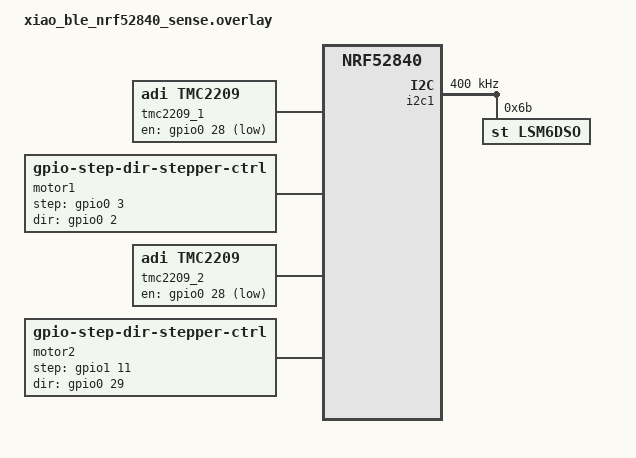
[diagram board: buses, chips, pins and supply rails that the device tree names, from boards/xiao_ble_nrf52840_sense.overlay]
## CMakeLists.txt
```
# Copyright (c) 2026 Toni Lekic
# SPDX-License-Identifier: Apache-2.0

cmake_minimum_required(VERSION 3.20.0)
find_package(Zephyr REQUIRED HINTS $ENV{ZEPHYR_BASE})

project(2dof-tilt-platform)

target_include_directories(app PRIVATE
    include
    src/kinematics
    src/motion
    src/imu
    src/calib
    src/homing
    src/pose_ctrl
)

target_sources(app PRIVATE
    src/main.c
    src/zbus_channels.c
    src/kinematics/kinematics.c
    src/motion/motion.c
    src/imu/imu.c
    src/calib/calib.c
    src/homing/homing.c
    src/pose_ctrl/pose_ctrl.c
    src/shell_cmds/shell_cmds.c
)
```

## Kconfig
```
# Copyright (c) 2026 Toni Lekic
# SPDX-License-Identifier: Apache-2.0

mainmenu "2DOF Tilt Platform"

# All project-introduced Kconfigs use the TT_<COMPONENT>_ prefix to be
# greppable and to make clear which component owns each setting.

# --------------------------------------------------------------------
# Motion (src/motion/) — stepper rates and S-curve ramp
# --------------------------------------------------------------------

config TT_MOTION_STEP_INTERVAL_NS
	int "Initial step interval (ns)"
	default 1000000
	help
	  Step interval set at motor init. Almost always overridden by the
	  S-curve ramp inside move_pair_by; only matters for raw driver calls
	  (e.g. STEPPER_CTRL_RUN_MODE_VELOCITY via 'platform run').

config TT_MOTION_MAX_STEP_RATE
	int "S-curve cruise step rate (microsteps/sec)"
	default 8000
	help
	  Peak microstep rate during the S-curve cruise phase. With 1/64
	  microstepping (12800 microsteps/rev), 8000 ≈ 37.5 RPM. Raise for
	  faster moves; lower if motors skip steps under load.

config TT_MOTION_MIN_STEP_RATE
	int "S-curve start/end step rate (microsteps/sec)"
	default 500
	help
	  Initial/final velocity of the ramp. Should sit below the motor's
	  pull-in rate so the rotor accelerates from rest cleanly.

config TT_MOTION_RAMP_STEPS
	int "S-curve accel/decel distance (microsteps)"
	default 400
	help
	  Number of microsteps over which velocity ramps MIN→MAX (and back).
	  Larger = smoother but slower; smaller = quicker but more likely to
	  skip steps. Default ~11.25° at 1/64 microstepping.

config TT_MOTION_RAMP_SEGMENTS
	int "S-curve velocity segment count per move"
	default 32
	help
	  The S-curve is approximated as N constant-velocity segments per
	  move. More = smoother profile, more inter-segment overhead.

# --------------------------------------------------------------------
# Homing (src/homing/) — also borrowed by src/pose_ctrl/ since both
# components run the same probe-Jacobian + Newton refinement loop.
# --------------------------------------------------------------------

config TT_HOMING_PROBE_STEPS
	int "Newton-refinement Jacobian probe size (microsteps)"
	default 200
	help
	  Number of microsteps each axis is jogged to identify the
	  (motor → IMU axis) Jacobian, used by both soft homing and the
	  pose-ctrl Newton fallback. Should produce a few degrees of
	  mechanical motion — large enough to lift the IMU response above
	  noise, small enough to stay within the small-angle linearization.
	  The PCB straps the TMC2209 to 1/64 microstepping (12800
	  microsteps/rev = 0.0281°/microstep), so the default of 200 is
	  ~5.6° per probe.

config TT_HOMING_MAX_ITERATIONS
	int "Newton-refinement max iterations"
	default 3
	help
	  Maximum Newton-step refinement iterations after the Jacobian probe,
	  for both homing's Stage 2 and the pose-ctrl Newton fallback. Each
	  iteration reads the IMU and applies one move per axis.

config TT_HOMING_CONVERGE_THRESH_MILLI_MS2
	int "Lateral residual convergence threshold (milli-m/s²)"
	default 400
	help
	  Lateral-accel magnitude below which the Newton iteration (in homing
	  and pose control) is considered converged, AND the threshold below
	  which the pose-ctrl IK fast path skips Newton refinement.

	  Specified in milli-m/s² because Kconfig has no float type. 400 =
	  0.4 m/s², which corresponds to ≈2.3° tilt residual at 1 g — well
	  inside one microstep at 1/64 (0.028°) plus IMU noise. Tighter
	  values cause Newton to run almost every set, which is unnecessary
	  given step resolution and IMU noise.

source "Kconfig.zephyr"
```

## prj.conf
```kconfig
# Copyright (c) 2026 Toni Lekic
# SPDX-License-Identifier: Apache-2.0

# --------------------------------------------------
# 2DOF Tilt Platform — Application Firmware
# --------------------------------------------------

# Shell subsystem
CONFIG_SHELL=y
CONFIG_SHELL_BACKEND_SERIAL=y

# USB CDC ACM console
CONFIG_USB_DEVICE_STACK_NEXT=y
CONFIG_CDC_ACM_SERIAL_INITIALIZE_AT_BOOT=y
CONFIG_CONSOLE=y
CONFIG_UART_CONSOLE=y
CONFIG_UART_LINE_CTRL=y

# GPIO
CONFIG_GPIO=y

# Stepper motor control
CONFIG_STEPPER=y
CONFIG_STEPPER_SHELL=y
CONFIG_STEPPER_CTRL_ISR_SAFE_EVENTS=y

# IMU (external SparkFun LSM6DSO on i2c1)
CONFIG_I2C=y
CONFIG_SENSOR=y
CONFIG_LSM6DSO=y

# Inter-component messaging
CONFIG_ZBUS=y

# Persistent IMU calibration (settings over NVS on the storage_partition)
CONFIG_FLASH=y
CONFIG_FLASH_MAP=y
CONFIG_NVS=y
CONFIG_SETTINGS=y
CONFIG_SETTINGS_NVS=y
CONFIG_MPU_ALLOW_FLASH_WRITE=y

# Floating-point printing for IMU shell output
CONFIG_CBPRINTF_FP_SUPPORT=y

# Logging
CONFIG_LOG=y

# Reboot support (used by 'platform dfu' command)
CONFIG_REBOOT=y
```

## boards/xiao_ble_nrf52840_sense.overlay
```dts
/*
 * Copyright (c) 2026 Toni Lekic
 * SPDX-License-Identifier: Apache-2.0
 *
 * DTS overlay for the 2DOF tilt platform on XIAO nRF52840 Sense.
 *
 * Each axis uses a TMC2209 stepper driver (hardware config: enable,
 * microstepping) paired with a GPIO step/dir motion controller. An
 * external SparkFun LSM6DSO IMU is mounted on the moving inner ring
 * and wired to the user-accessible I²C bus (i2c1, D4/D5).
 *
 * Pin mapping (directly from schematic):
 *   P0.02 → M1_DIR    (Motor 1 direction)
 *   P0.03 → M1_STEP   (Motor 1 step)
 *   P0.28 → M_EN      (Shared TMC2209 enable, active-low)
 *   P0.29 → M2_DIR    (Motor 2 direction)
 *   P1.11 → M2_STEP   (Motor 2 step)
 *   P0.04 → IMU_SDA   (XIAO D4, i2c1)
 *   P0.05 → IMU_SCL   (XIAO D5, i2c1)
 *
 * TODO: assign GPIOs for M1_MS1, M1_MS2, M2_MS1, M2_MS2 once wired.
 */

#include <zephyr/dt-bindings/sensor/lsm6dso.h>

/ {
	aliases {
		motor1 = &motor1;
		motor2 = &motor2;
		stepper-driver1 = &tmc2209_1;
		stepper-driver2 = &tmc2209_2;
		imu = &lsm6dso;
	};

	/* --- Axis 1 ------------------------------------------------- */

	tmc2209_1: tmc2209-1 {
		compatible = "adi,tmc2209";
		status = "okay";
		en-gpios = <&gpio0 28 GPIO_ACTIVE_LOW>;
		// m0-gpios = <&gpio1 12 GPIO_ACTIVE_HIGH>;
		// m1-gpios = <&gpio1 13 GPIO_ACTIVE_HIGH>;
		/* MS1/MS2 are hardware-strapped on the PCB to 1/64 μstep;
		 * this property is metadata only so the driver reports
		 * the correct resolution via get_micro_step_res. */
		micro-step-res = <64>;
	};

	motor1: motor1 {
		compatible = "zephyr,gpio-step-dir-stepper-ctrl";
		status = "okay";
		step-gpios = <&gpio0 3 GPIO_ACTIVE_HIGH>;
		dir-gpios  = <&gpio0 2 GPIO_ACTIVE_HIGH>;
		stepper-driver = <&tmc2209_1>;
	};

	/* --- Axis 2 ------------------------------------------------- */

	tmc2209_2: tmc2209-2 {
		compatible = "adi,tmc2209";
		status = "okay";
		en-gpios = <&gpio0 28 GPIO_ACTIVE_LOW>;
		// m0-gpios = <&gpio1 14 GPIO_ACTIVE_HIGH>;
		// m1-gpios = <&gpio1 15 GPIO_ACTIVE_HIGH>;
		/* MS1/MS2 are hardware-strapped on the PCB to 1/64 μstep;
		 * this property is metadata only so the driver reports
		 * the correct resolution via get_micro_step_res. */
		micro-step-res = <64>;
	};

	motor2: motor2 {
		compatible = "zephyr,gpio-step-dir-stepper-ctrl";
		status = "okay";
		step-gpios = <&gpio1 11 GPIO_ACTIVE_HIGH>;
		dir-gpios  = <&gpio0 29 GPIO_ACTIVE_HIGH>;
		stepper-driver = <&tmc2209_2>;
	};
};

/* Disable physical UART0 — its default pinctrl claims P1.11 (TX),
 * which conflicts with motor2 step-gpios. Console uses USB CDC ACM. */
&uart0 {
	status = "disabled";
};

/* Disable the onboard LSM6DS3TR-C — the project uses the external LSM6DSO
 * on the moving platform instead. Keeps i2c0 traffic-free. */
&lsm6ds3tr_c {
	status = "disabled";
};

/* --- External IMU on user I²C bus (i2c1, D4/D5) ------------------ */

&i2c1 {
	clock-frequency = <I2C_BITRATE_FAST>;

	lsm6dso: lsm6dso@6b {
		compatible = "st,lsm6dso";
		reg = <0x6b>;
		status = "okay";
		accel-range = <LSM6DSO_DT_FS_2G>;
		accel-odr = <LSM6DSO_DT_ODR_104Hz>;
		gyro-range = <LSM6DSO_DT_FS_250DPS>;
		gyro-odr = <LSM6DSO_DT_ODR_104Hz>;
	};
};
```

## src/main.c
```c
/*
 * Copyright (c) 2026 Toni Lekic
 * SPDX-License-Identifier: Apache-2.0
 *
 * 2DOF Tilt Platform — application entry point.
 *
 * Initializes each component in dependency order. After this returns the
 * shell thread takes over; user-facing logic lives in src/shell_cmds and
 * the orchestrator components (homing, pose_ctrl).
 *
 * See app/README.md for architecture, math, and algorithms.
 */

#include <zephyr/kernel.h>
#include <zephyr/logging/log.h>

#include "homing.h"
#include "imu.h"
#include "motion.h"
#include "pose_ctrl.h"

LOG_MODULE_REGISTER(app, LOG_LEVEL_INF);

int main(void)
{
	LOG_INF("2DOF tilt platform firmware started");

	motion_init();
	imu_init();
	homing_init();
	pose_ctrl_init();

	LOG_INF("Drivers disabled; run 'platform enable' to power motors");
	return 0;
}
```

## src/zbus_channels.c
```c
/*
 * Copyright (c) 2026 Toni Lekic
 * SPDX-License-Identifier: Apache-2.0
 *
 * Single translation unit holding all ZBUS_CHAN_DEFINE macros so channels
 * are linked exactly once.
 */

#include "app/zbus_channels.h"

ZBUS_CHAN_DEFINE(chan_homing_state,
		 struct homing_state,
		 NULL,                          /* validator */
		 NULL,                          /* user_data */
		 ZBUS_OBSERVERS_EMPTY,
		 ZBUS_MSG_INIT(.homed = false));
```
